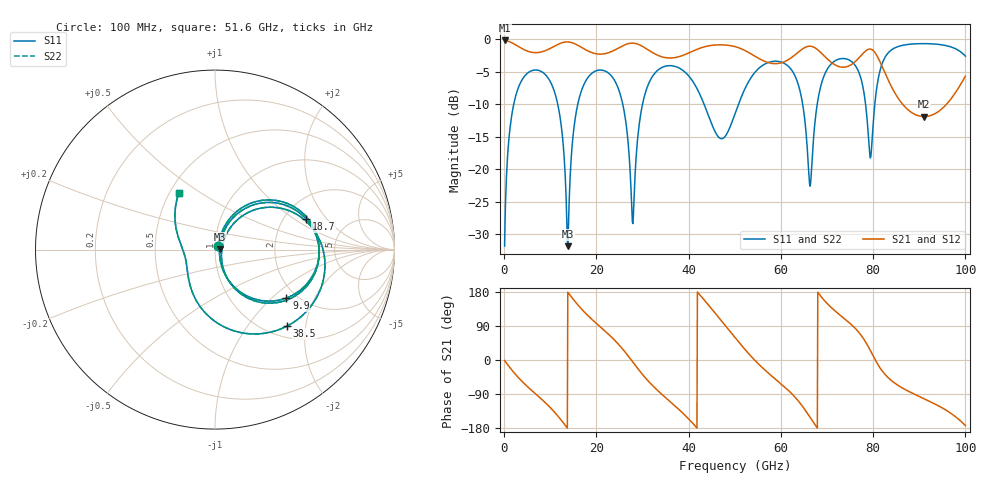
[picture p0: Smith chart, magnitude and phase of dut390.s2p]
! Touchstone file exported from HFSS 2026.1.0
!  File:  C:/ffzhzh/LocalFiles/Ansys_Project_Files/temp_train_TSV_RDL_390_1783717841_45496.aedt
!  Generated:  05:34:44 AM Jul 11, 2026
!  Design:  TSV_RDL
!  Project:  temp_train_TSV_RDL_390_1783717841_45496
! Variables:
!  h_bsmrdl = 4.14um
!  h_ox = 20um
!  h_rdl = 5um
!  h_sub = 57.11um
!  h_tmrdl = 3.66um
!  h_tsv = 57.11um
!  h_via = 3um
!  l_bsmrdl = 656.22um
!  l_sub = 4628.64um
!  l_tmrdl = 531.05um
!  m_sub = 200um
!  pitch = 57.76um
!  r_tsv = 14.12um
!  s_tmrdl = 10um
!  w_bsmrdl = 16.66um
!  w_sub = 500um
!  w_tmrdl = 28.6um
!  x_tsv_center1 = 545.35um
!  x_tsv_center2 = 1218.23um
!  x_tsv_center3 = 1777.88um
!  x_tsv_center4 = 2450.76um
!  x_tsv_center5 = 3010.41um
!  x_tsv_center6 = 3683.29um
# GHz S MA R 50.000000
! Terminal data exported
! Port[1] = TM_RDL1_1_T1
! Port[2] = TM_RDL5_1_T1
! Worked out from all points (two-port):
!   1000 points, 100 MHz to 100 GHz, reference 50 ohm
!   highest |S21| = -0.16 dB at 100 MHz (marker M1); lowest = -11.9 dB at 91.1 GHz (marker M2)
!   |S21| within 3 dB of the highest: start of sweep to 55.82 GHz; 61.52 GHz to 70.29 GHz (8.769 GHz wide, 13.3 % of centre) (the widest 2 of 3)
!   lowest |S11| = -31.9 dB at 13.8 GHz (marker M3), VSWR 1.05, Z = 52.6 + j0.242 ohm
!   |S11| at or under -10 dB: 11.62 GHz to 15.96 GHz (4.338 GHz wide, 31.5 % of centre); 25.72 GHz to 30 GHz (4.278 GHz wide, 15.4 % of centre); 43.35 GHz to 50.8 GHz (7.452 GHz wide, 15.8 % of centre) (the widest 3 of 6)
!   |S22| runs from -31.9 to -0.6 dB; largest |S21 - S12| = 2.8e-13
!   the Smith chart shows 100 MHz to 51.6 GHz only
!   S11 on the Smith chart (normalised r, x): 100 MHz: 1.04, +0.04; 9.9 GHz: 1.77, -1.24; 18.7 GHz: 2.62, +1.26; 38.5 GHz: 1.22, -1.58; 51.6 GHz: 0.56, +0.41
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0.1  0.02552 43.1  0.9817 -1.7  0.9817 -1.7  0.02552 43.1
! Gamma 0 0 0 0
! Port Impedance 50 0 50 0
2.8  0.3977 44.1  0.8945 -42.7  0.8945 -42.7  0.3977 44.1
9.9  0.4804 -34.2  0.8494 -124.3  0.8494 -124.3  0.4804 -34.2
13.8  0.0255 5.2  0.9562 178.9  0.9562 178.9  0.02563 5.1
16.8  0.4062 40.3  0.8666 134.2  0.8666 134.2  0.4062 40.3
18.7  0.5352 18.7  0.7992 110.9  0.7992 110.9  0.5352 18.6
24.9  0.4045 -47.2  0.8627 40.0  0.8627 40.0  0.4045 -47.3
27.9  0.03807 0.3  0.936 -5.5  0.936 -5.5  0.03762 0.4
29.9  0.3043 45.9  0.8874 -36.8  0.8874 -36.8  0.3042 46.0
33.4  0.5825 6.0  0.7521 -81.8  0.7521 -81.8  0.5825 6.0
38.5  0.5858 -46.6  0.7476 -137.4  0.7476 -137.4  0.5858 -46.6
43.8  0.288 -113.4  0.884 152.3  0.884 152.3  0.2879 -113.5
50.1  0.2703 145.1  0.8792 58.8  0.8792 58.8  0.2702 145.2
51.6  0.3728 122.8  0.8411 36.7  0.8411 36.7  0.3727 122.9
60.6  0.6576 22.1  0.6696 -68.9  0.6696 -68.9  0.6575 22.2
66.7  0.1083 68.2  0.8827 -158.2  0.8827 -158.2  0.1094 67.6
69.9  0.5768 55.6  0.7162 150.8  0.7162 150.8  0.577 55.5
77  0.5461 -11.9  0.7257 71.4  0.7257 71.4  0.5462 -12.0
79.4  0.122 21.1  0.8427 24.8  0.8427 24.8  0.1199 21.0
83.4  0.7973 35.3  0.4748 -48.3  0.4748 -48.3  0.797 35.4
91.1  0.9281 -12.6  0.2542 -102.5  0.2542 -102.5  0.928 -12.6
100  0.7429 -76.5  0.5206 -173.0  0.5206 -173.0  0.7429 -76.4
